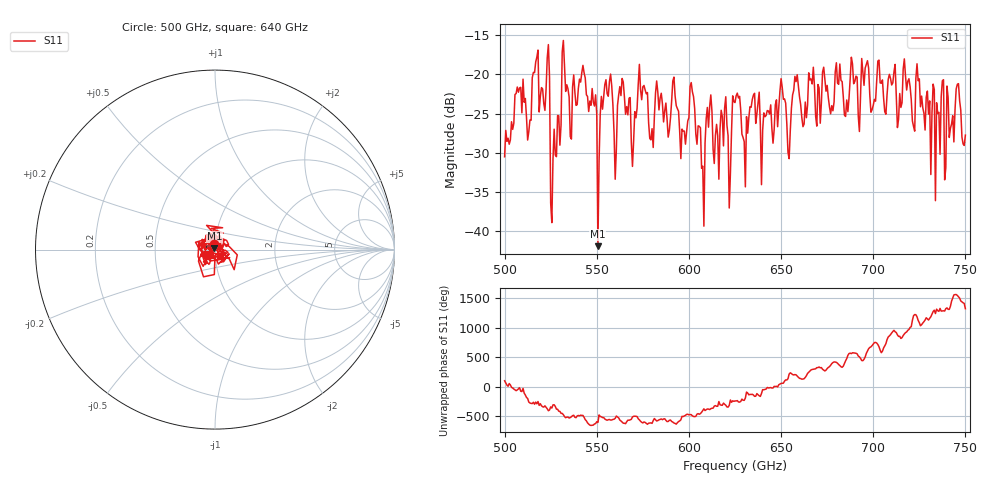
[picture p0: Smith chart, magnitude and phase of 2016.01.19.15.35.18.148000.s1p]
!Created with skrf (http://scikit-rf.org).
# GHz S RI R 50.0
!freq ReS11 ImS11
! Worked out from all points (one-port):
!   401 points, 500 GHz to 750 GHz, reference 50 ohm
!   lowest |S11| = -41.9 dB at 550.6 GHz (marker M1), VSWR 1.02, Z = 49.6 + j0.72 ohm
!   |S11| at or under -10 dB: start of sweep to end of sweep
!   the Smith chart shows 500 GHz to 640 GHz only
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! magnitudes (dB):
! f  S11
! 500 GHz  -30.5
! 507.5 GHz  -22.3
! 513.1 GHz  -27.3
! 516.9 GHz  -18.4
! 523.1 GHz  -17.9
! 526.2 GHz  -30.8
! 531.2 GHz  -17.1
! 542.5 GHz  -18.9
! 550.6 GHz  -41.9
! 553.8 GHz  -22.9
! 560 GHz  -33.4
! 562.5 GHz  -21.6
! 570 GHz  -28.5
! 573.8 GHz  -22.0
! 579.4 GHz  -28.3
! 593.8 GHz  -24.4
! 601.9 GHz  -22.2
! 607.5 GHz  -31.7
! 611.2 GHz  -24.1
! 621.9 GHz  -37.0
! 625 GHz  -23.6
! 630 GHz  -28.6
! 656.2 GHz  -22.6
! 687.5 GHz  -20.5
! 718.8 GHz  -20.9
! 735 GHz  -25.0
! 746.2 GHz  -21.2
! 750 GHz  -27.7
